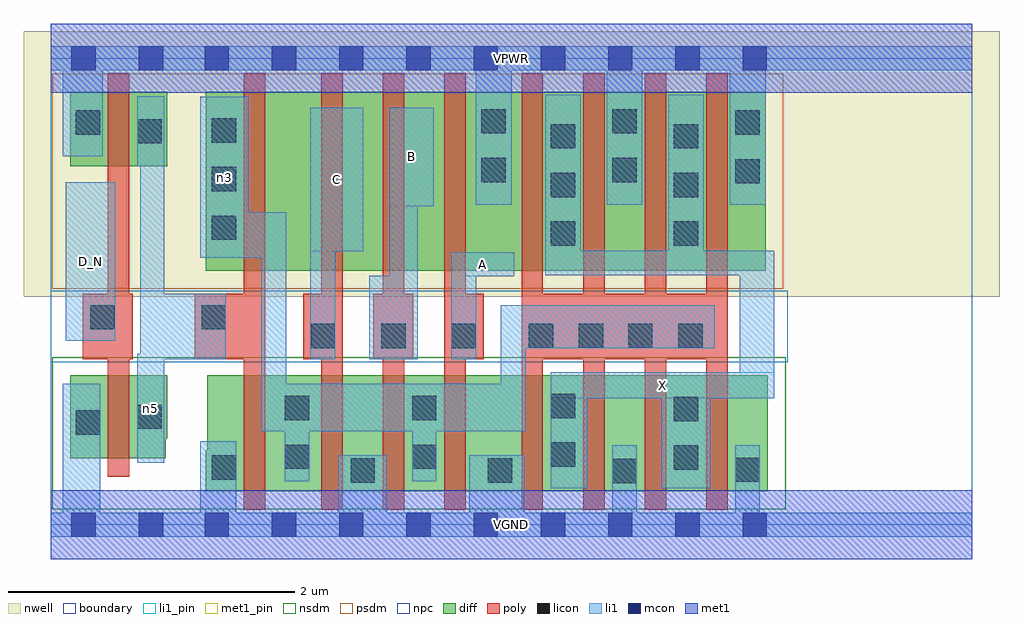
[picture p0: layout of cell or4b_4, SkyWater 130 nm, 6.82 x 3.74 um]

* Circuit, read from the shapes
.subckt or4b_4 A B C D_N VGND VPWR X n3 n5
XM1 n5 D_N VGND VSUBS sky130_fd_pr__nfet_01v8 w=0.58 l=0.15
XM2 n3 n5 VGND VSUBS sky130_fd_pr__nfet_01v8 w=0.81 l=0.15
XM3 VGND C n3 VSUBS sky130_fd_pr__nfet_01v8 w=0.81 l=0.15
XM4 n3 B VGND VSUBS sky130_fd_pr__nfet_01v8 w=0.81 l=0.15
XM5 VGND A n3 VSUBS sky130_fd_pr__nfet_01v8 w=0.81 l=0.15
XM6 X n3 VGND VSUBS sky130_fd_pr__nfet_01v8 w=0.81 l=0.15 m=4
XM7 n5 D_N VPWR n1 sky130_fd_pr__pfet_01v8 w=0.52 l=0.15
XM8 n2 n5 n3 n1 sky130_fd_pr__pfet_01v8 w=1.25 l=0.15
XM9 n4 C n2 n1 sky130_fd_pr__pfet_01v8 w=1.25 l=0.15
XM10 n6 B n4 n1 sky130_fd_pr__pfet_01v8 w=1.25 l=0.15
XM11 VPWR A n6 n1 sky130_fd_pr__pfet_01v8 w=1.25 l=0.15
XM12 X n3 VPWR n1 sky130_fd_pr__pfet_01v8 w=1.25 l=0.15 m=4
.ends

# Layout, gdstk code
import gdstk
lib = gdstk.Library(unit=1e-6, precision=1e-09)
def R(c, l, rs):  # rectangles x0, y0, x1, y1
    for r in rs: c.add(gdstk.rectangle(r[:2], r[2:], *l))
def A(c, l, x, y, w, h, nx, ny, dx, dy):  # array of equal rectangles
    R(c, l, [(x+i*dx, y+j*dy, x+i*dx+w, y+j*dy+h) for i in range(nx) for j in range(ny)])
nwell = (64, 20)
diff = (65, 20)
poly = (66, 20)
licon = (66, 44)
li1_pin = (67, 16)
li1 = (67, 20)
mcon = (67, 44)
met1_pin = (68, 16)
met1 = (68, 20)
nsdm = (93, 44)
psdm = (94, 20)
npc = (95, 20)
boundary = (235, 4)

or4b_4 = lib.new_cell('or4b_4')
R(or4b_4, nwell, [(-0.19,1.595,6.63,3.45), (0,1.595,6.44,3.45)])
R(or4b_4, diff, [(1.085,0.235,5.01,0.52), (1.095,0.235,5.01,1.045), (0.135,0.465,0.805,1.045), (0.135,0.6,0.815,1.045), (1.085,1.775,4.995,3.025), (0.135,2.505,0.815,3.025)])
A(or4b_4, poly, 1.89, 0.105, 0.15, 3.05, 3, 1, 0.43, 0)
A(or4b_4, poly, 3.29, 0.105, 0.15, 3.05, 4, 1, 0.43, 0)
R(or4b_4, poly, [(1.35,0.105,1.5,3.155), (0.4,0.335,0.55,3.155), (0.225,1.155,0.575,1.615), (1.005,1.155,1.5,1.615), (1.765,1.155,2.04,1.615), (2.255,1.155,2.535,1.615), (2.75,1.155,3.025,1.615), (3.29,1.155,4.73,1.615)])
A(or4b_4, licon, 1.82, 1.235, 0.17, 0.17, 3, 1, 0.49, 0)
A(or4b_4, licon, 3.495, 1.95, 0.17, 0.17, 1, 3, 0, 0.34)
A(or4b_4, licon, 4.355, 1.95, 0.17, 0.17, 1, 3, 0, 0.34)
A(or4b_4, licon, 1.125, 1.99, 0.17, 0.17, 1, 3, 0, 0.34)
R(or4b_4, licon, [(3.925,0.29,4.095,0.46), (2.095,0.295,2.265,0.465), (3.055,0.295,3.225,0.465), (4.785,0.3,4.955,0.47), (1.125,0.315,1.295,0.485), (4.355,0.385,4.525,0.555), (1.635,0.39,1.805,0.56), (2.525,0.39,2.695,0.56), (3.495,0.405,3.665,0.575), (0.175,0.63,0.345,0.8), (0.605,0.67,0.775,0.84), (4.355,0.725,4.525,0.895), (1.635,0.73,1.805,0.9), (2.525,0.73,2.695,0.9), (3.495,0.745,3.665,0.915), (3.34,1.235,3.51,1.405), (3.69,1.235,3.86,1.405), (4.035,1.235,4.205,1.405), (4.385,1.235,4.555,1.405), (0.275,1.365,0.445,1.535), (1.055,1.365,1.225,1.535), (4.785,2.385,4.955,2.555), (3.01,2.395,3.18,2.565), (3.925,2.395,4.095,2.565), (0.605,2.665,0.775,2.835), (0.175,2.725,0.345,2.895), (4.785,2.725,4.955,2.895), (3.01,2.735,3.18,2.905), (3.925,2.735,4.095,2.905)])
R(or4b_4, li1_pin, [(3.495,0.885,5.055,1.065), (0.105,1.285,0.45,2.395), (2.8,1.735,3.24,1.905), (1.815,1.91,2.185,2.915), (2.37,2.225,2.675,2.915)])
R(or4b_4, li1, [(0,-0.085,6.44,0.085), (0.085,-0.085,0.345,0.985), (1.045,-0.085,1.295,0.585), (2.01,-0.085,2.35,0.485), (2.925,-0.085,3.31,0.485), (3.925,-0.085,4.095,0.555), (4.785,-0.085,4.955,0.555), (3.495,0.255,3.75,1.065), (4.27,0.255,4.61,1.065), (1.635,0.305,1.805,0.985), (2.525,0.305,2.695,0.985), (0.605,0.435,0.795,1.195), (0.625,0.435,0.795,2.995), (1.47,0.655,3.32,0.985), (1.47,0.655,1.645,2.185), (3.145,0.655,3.32,1.535), (3.495,0.885,5.055,1.065), (4.815,0.885,5.055,1.915), (0.625,1.155,1.225,1.615), (1.815,1.155,1.99,2.915), (2.225,1.155,2.565,1.74), (2.37,1.155,2.565,2.915), (2.8,1.155,2.975,1.905), (3.145,1.235,4.64,1.535), (0.105,1.285,0.45,2.395), (2.8,1.735,3.24,1.905), (3.455,1.745,5.055,1.915), (3.455,1.745,3.705,3.005), (4.315,1.745,4.565,3.005), (1.045,1.865,1.38,2.99), (1.045,1.865,1.645,2.185), (1.815,1.91,2.185,2.915), (2.37,2.225,2.675,2.915), (2.97,2.235,3.22,3.345), (3.885,2.235,4.135,3.345), (4.745,2.235,4.995,3.345), (0.605,2.505,0.795,2.995), (0.085,2.575,0.365,3.345), (0,3.175,6.44,3.345)])
A(or4b_4, mcon, 1.075, -0.085, 0.17, 0.17, 9, 2, 0.47, 3.26)
R(or4b_4, mcon, [(0.145,-0.085,0.315,0.085), (0.615,-0.085,0.785,0.085), (0.145,3.175,0.315,3.345), (0.615,3.175,0.785,3.345)])
R(or4b_4, met1_pin, [(0,-0.24,6.44,0.24), (0,3.02,6.44,3.5)])
R(or4b_4, met1, [(0,-0.24,6.44,0.24), (0,3.02,6.44,3.5)])
R(or4b_4, nsdm, [(0.01,0.11,5.135,1.17)])
R(or4b_4, psdm, [(0.01,1.65,5.12,3.15)])
R(or4b_4, npc, [(0,1.135,5.15,1.635)])
R(or4b_4, boundary, [(0,0,6.44,3.26)])
or4b_4.add(gdstk.Label('A', (3.02,1.82), layer=67, texttype=5))
or4b_4.add(gdstk.Label('B', (2.522,2.57), layer=67, texttype=5))
or4b_4.add(gdstk.Label('C', (2,2.412), layer=67, texttype=5))
or4b_4.add(gdstk.Label('D_N', (0.277,1.84), layer=67, texttype=5))
or4b_4.add(gdstk.Label('X', (4.275,0.975), layer=67, texttype=5))
or4b_4.add(gdstk.Label('n3', (1.212,2.427), layer=67, texttype=5))
or4b_4.add(gdstk.Label('n5', (0.7,0.815), layer=67, texttype=5))
or4b_4.add(gdstk.Label('VPWR', (3.22,3.26), layer=68, texttype=5))
or4b_4.add(gdstk.Label('VGND', (3.22,0), layer=68, texttype=5))
or4b_4.add(gdstk.Label('A', (3.02,1.82), layer=67, texttype=16))
or4b_4.add(gdstk.Label('B', (2.522,2.57), layer=67, texttype=16))
or4b_4.add(gdstk.Label('C', (2,2.412), layer=67, texttype=16))
or4b_4.add(gdstk.Label('D_N', (0.277,1.84), layer=67, texttype=16))
or4b_4.add(gdstk.Label('X', (4.275,0.975), layer=67, texttype=16))
or4b_4.add(gdstk.Label('VPWR', (3.22,3.26), layer=68, texttype=16))
or4b_4.add(gdstk.Label('VGND', (3.22,0), layer=68, texttype=16))

lib.write_gds('or4b_4.gds')
